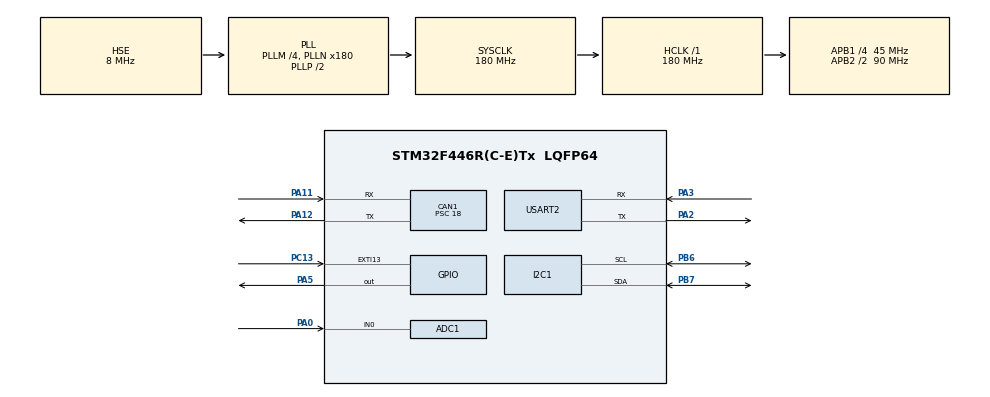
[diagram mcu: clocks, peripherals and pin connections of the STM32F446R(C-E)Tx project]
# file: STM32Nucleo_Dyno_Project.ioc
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ADC1.Channel-2\#ChannelRegularConversion=ADC_CHANNEL_0
ADC1.NbrOfConversionFlag=1
ADC1.Rank-2\#ChannelRegularConversion=1
ADC1.SamplingTime-2\#ChannelRegularConversion=ADC_SAMPLETIME_84CYCLES
ADC1.master=1
CAN1.BS1=CAN_BS1_2TQ
CAN1.BS2=CAN_BS2_2TQ
CAN1.CalculateBaudRate=500000
CAN1.CalculateTimeBit=2000
CAN1.CalculateTimeQuantum=400.0
CAN1.Prescaler=18
I2C1.I2C_Mode=I2C_Fast
Mcu.Family=STM32F4
Mcu.Name=STM32F446R(C-E)Tx
Mcu.Package=LQFP64
NVIC.CAN1_RX0_IRQn=true\:0\:0\:false\:false\:true\:true\:true\:true
NVIC.CAN1_TX_IRQn=true\:0\:0\:false\:false\:true\:true\:true\:true
NVIC.EXTI15_10_IRQn=true\:0\:0\:false\:false\:true\:true\:true\:true
NVIC.PriorityGroup=NVIC_PRIORITYGROUP_4
PA0-WKUP.Signal=ADCx_IN0
PA11.Mode=CAN_Activate
PA11.Signal=CAN1_RX
PA12.Mode=CAN_Activate
PA12.Signal=CAN1_TX
PA13.Mode=Serial_Wire
PA13.Signal=SYS_JTMS-SWDIO
PA14.Mode=Serial_Wire
PA14.Signal=SYS_JTCK-SWCLK
PA2.Mode=Asynchronous
PA2.Signal=USART2_TX
PA3.Mode=Asynchronous
PA3.Signal=USART2_RX
PA5.Signal=GPIO_Output
PB6.Mode=I2C
PB6.Signal=I2C1_SCL
PB7.Mode=I2C
PB7.Signal=I2C1_SDA
PC13.Signal=GPXTI13
PH0-OSC_IN.Mode=HSE-External-Oscillator
PH0-OSC_IN.Signal=RCC_OSC_IN
PH1-OSC_OUT.Mode=HSE-External-Oscillator
PH1-OSC_OUT.Signal=RCC_OSC_OUT
ProjectManager.HeapSize=0x200
ProjectManager.StackSize=0x400
ProjectManager.TargetToolchain=STM32CubeIDE
RCC.AHBFreq_Value=180000000
RCC.APB1CLKDivider=RCC_HCLK_DIV4
RCC.APB1Freq_Value=45000000
RCC.APB1TimFreq_Value=90000000
RCC.APB2CLKDivider=RCC_HCLK_DIV2
RCC.APB2Freq_Value=90000000
RCC.APB2TimFreq_Value=180000000
RCC.CortexFreq_Value=180000000
RCC.HCLKFreq_Value=180000000
RCC.HSE_VALUE=8000000
RCC.PLLM=4
RCC.PLLN=180
RCC.PLLSourceVirtual=RCC_PLLSOURCE_HSE
RCC.SYSCLKFreq_VALUE=180000000
RCC.SYSCLKSource=RCC_SYSCLKSOURCE_PLLCLK
RCC.USBFreq_Value=180000000
RCC.VCOOutputFreq_Value=360000000
SH.ADCx_IN0.0=ADC1_IN0,IN0
USART2.VirtualMode=VM_ASYNC
board=custom

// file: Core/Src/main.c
/* USER CODE BEGIN Header */
/**
  ******************************************************************************
  * @file           : main.c
  * @brief          : Main program body
  ******************************************************************************
  * @attention
  *
  * Copyright (c) 2026 STMicroelectronics.
  * All rights reserved.
  *
  * This software is licensed under terms that can be found in the LICENSE file
  * in the root directory of this software component.
  * If no LICENSE file comes with this software, it is provided AS-IS.
  *
  ******************************************************************************
  */
/* USER CODE END Header */
#include "main.h"

/* USER CODE BEGIN Includes */
#include <stdio.h>
#include <string.h>
/* USER CODE END Includes */

/* USER CODE BEGIN PD */
#define ENGINE_IDLE_RPM 850
#define ENGINE_REDLINE_RPM 6800
#define ENGINE_MAX_RPM 7000

#define ENGINE_COLD_TEMP 20
#define ENGINE_NORMAL_TEMP 90
#define ENGINE_HIGH_TEMP 105
#define ENGINE_MAX_TEMP 120

/* USER CODE END PD */

ADC_HandleTypeDef hadc1;

CAN_HandleTypeDef hcan1;

I2C_HandleTypeDef hi2c1;

UART_HandleTypeDef huart2;

/* USER CODE BEGIN PV */

//TODO: Place in seperate file
//DYNO States
typedef enum
{
	DYNO_IDLE = 0,
	DYNO_ACTIVE = 1,
	DYNO_STOPPED = 2

} DynoState_t;

volatile DynoState_t DYNO_STATE;

//DYNO Data states
typedef enum
{
	DYNO_DATA_AWAITING = 0,
	DYNO_DATA_RECEIVED = 1

} DynoData_t;

volatile DynoData_t DYNO_DATA = DYNO_DATA_AWAITING;

//CAN RX Engine and Dyno initialisation
volatile uint8_t Rx_Throttle;
volatile uint16_t Rx_RPM;
volatile uint8_t Rx_Temp;
volatile uint16_t Rx_Torque;
volatile uint16_t Rx_BHP;

/* USER CODE END PV */

void SystemClock_Config(void);
static void MX_GPIO_Init(void);
static void MX_ADC1_Init(void);
static void MX_CAN1_Init(void);
static void MX_I2C1_Init(void);
static void MX_USART2_UART_Init(void);
/* USER CODE BEGIN PFP */
uint8_t THROTTLE_ADC_Conversion(uint16_t ADC_VALUE);
uint16_t ENGINE_RPM_Calculation(uint8_t throttle);
uint8_t ENGINE_TEMP_Calculation(uint16_t rpm);
void CAN_SendEngineData(uint8_t throttle, uint16_t rpm, uint8_t temp);
void UART_SendDashboardData(uint8_t throttle, uint16_t rpm, uint8_t temp, uint16_t torque, uint16_t bhp);
/* USER CODE END PFP */

/* USER CODE BEGIN 0 */

//CAN Test
CAN_TxHeaderTypeDef TxHeader;
CAN_RxHeaderTypeDef RxHeader;

CAN_TxHeaderTypeDef HandshakeTxHeader;

CAN_TxHeaderTypeDef EngineTxHeader;

uint8_t HandshakeTxData[1];
uint8_t TxData[8];
uint8_t RxData[8];

uint32_t TxMailbox;

//ADC
uint16_t ADC_VAL = 0;
uint8_t count = 0;

//Engine initialisation
uint8_t Throttle_Percent;
uint16_t Engine_RPM;
uint8_t Engine_Temp = ENGINE_COLD_TEMP;

char msg[100];
/* USER CODE END 0 */

int main(void)
{

  /* MCU Configuration--------------------------------------------------------*/

  /* Reset of all peripherals, Initializes the Flash interface and the Systick. */
  HAL_Init();

  /* Configure the system clock */
  SystemClock_Config();

  /* Initialize all configured peripherals */
  MX_GPIO_Init();
  MX_ADC1_Init();
  MX_CAN1_Init();
  MX_I2C1_Init();
  MX_USART2_UART_Init();
  /* USER CODE BEGIN 2 */

  //Activate CAN and Activate CAN Interrupts
  if (HAL_CAN_Start(&hcan1) != HAL_OK){
  	  Error_Handler();
  }

  HAL_CAN_ActivateNotification(&hcan1, CAN_IT_RX_FIFO0_MSG_PENDING| CAN_IT_TX_MAILBOX_EMPTY | CAN_IT_ERROR | CAN_IT_LAST_ERROR_CODE | CAN_IT_BUSOFF);

  DYNO_STATE = DYNO_IDLE;

  //================
  //STM32 HEADER
  //================
  TxHeader.DLC = 2; //Data length
  TxHeader.IDE = CAN_ID_STD; //Standard length Identifier
  TxHeader.RTR = CAN_RTR_DATA;
  TxHeader.StdId = 0x446; //ID for the F446RE

  //================
  //CAN HANDSHAKE HEADER
  //================
  HandshakeTxHeader.DLC = 1;
  HandshakeTxHeader.IDE = CAN_ID_STD;
  HandshakeTxHeader.RTR = CAN_RTR_DATA;
  HandshakeTxHeader.StdId = 0x100;

  //================
  //ENGINE HEADER
  //================
  EngineTxHeader.StdId = 0x200;
  EngineTxHeader.IDE = CAN_ID_STD;
  EngineTxHeader.RTR = CAN_RTR_DATA;
  EngineTxHeader.DLC = 4;

  /* USER CODE END 2 */

  /* Infinite loop */
  while (1)
  {

    /* USER CODE BEGIN 3 */

	//TODO: Refactor this DYNO code
	if(DYNO_STATE == DYNO_ACTIVE)
	{
		HAL_ADC_Start(&hadc1);
		HAL_ADC_PollForConversion(&hadc1, 100);
		ADC_VAL = HAL_ADC_GetValue(&hadc1);
		HAL_ADC_Stop(&hadc1);

		//Throttle - Convert ADC Values
		Throttle_Percent = THROTTLE_ADC_Conversion(ADC_VAL);
		//RPM - Convert Throttle to RPM
		Engine_RPM = ENGINE_RPM_Calculation(Throttle_Percent);
		//Temperature - Calculate temperature
		Engine_Temp = ENGINE_TEMP_Calculation(Engine_RPM);

		CAN_SendEngineData(Throttle_Percent, Engine_RPM, Engine_Temp);

		//================================
		//TRANSMIT DATA TO SERIAL PORT
		//================================
		if (DYNO_DATA == DYNO_DATA_RECEIVED){

			uint8_t throttle;
			uint16_t rpm;
			uint8_t temp;
		    uint16_t torque;
		    uint16_t bhp;

		    uint32_t primask = __get_PRIMASK();
		    __disable_irq();

		    throttle = Rx_Throttle;
		    rpm = Rx_RPM;
		    temp = Rx_Temp;
		    torque = Rx_Torque;
		    bhp = Rx_BHP;

			DYNO_DATA = DYNO_DATA_AWAITING;

			__set_PRIMASK(primask);

			UART_SendDashboardData(throttle, rpm, temp, torque, bhp);
		}

		//UART Print values
		//sprintf(msg, "[ADC] Value = %u\r\n", ADC_VAL);
		//HAL_UART_Transmit(&huart2,(uint8_t *)msg,strlen(msg),HAL_MAX_DELAY);

		//CAN - Transmit and split ADC values
		//
		//
		//Note: Shift first number by 8 bits (as its 16-bit) then mask to get value.
		TxData[0] = (ADC_VAL >> 8) & 0xFF;
		TxData[1] = ADC_VAL & 0xFF;

		HAL_CAN_AddTxMessage(&hcan1, &TxHeader, TxData, &TxMailbox);

		HAL_Delay(500);
		count++;
	}

  }
  /* USER CODE END 3 */
}

void SystemClock_Config(void)
{
  RCC_OscInitTypeDef RCC_OscInitStruct = {0};
  RCC_ClkInitTypeDef RCC_ClkInitStruct = {0};

  /** Configure the main internal regulator output voltage
  */
  __HAL_RCC_PWR_CLK_ENABLE();
  __HAL_PWR_VOLTAGESCALING_CONFIG(PWR_REGULATOR_VOLTAGE_SCALE1);

  /** Initializes the RCC Oscillators according to the specified parameters
  * in the RCC_OscInitTypeDef structure.
  */
  RCC_OscInitStruct.OscillatorType = RCC_OSCILLATORTYPE_HSE;
  RCC_OscInitStruct.HSEState = RCC_HSE_ON;
  RCC_OscInitStruct.PLL.PLLState = RCC_PLL_ON;
  RCC_OscInitStruct.PLL.PLLSource = RCC_PLLSOURCE_HSE;
  RCC_OscInitStruct.PLL.PLLM = 4;
  RCC_OscInitStruct.PLL.PLLN = 180;
  RCC_OscInitStruct.PLL.PLLP = RCC_PLLP_DIV2;
  RCC_OscInitStruct.PLL.PLLQ = 2;
  RCC_OscInitStruct.PLL.PLLR = 2;
  if (HAL_RCC_OscConfig(&RCC_OscInitStruct) != HAL_OK)
  {
    Error_Handler();
  }

  /** Activate the Over-Drive mode
  */
  if (HAL_PWREx_EnableOverDrive() != HAL_OK)
  {
    Error_Handler();
  }

  /** Initializes the CPU, AHB and APB buses clocks
  */
  RCC_ClkInitStruct.ClockType = RCC_CLOCKTYPE_HCLK|RCC_CLOCKTYPE_SYSCLK
                              |RCC_CLOCKTYPE_PCLK1|RCC_CLOCKTYPE_PCLK2;
  RCC_ClkInitStruct.SYSCLKSource = RCC_SYSCLKSOURCE_PLLCLK;
  RCC_ClkInitStruct.AHBCLKDivider = RCC_SYSCLK_DIV1;
  RCC_ClkInitStruct.APB1CLKDivider = RCC_HCLK_DIV4;
  RCC_ClkInitStruct.APB2CLKDivider = RCC_HCLK_DIV2;

  if (HAL_RCC_ClockConfig(&RCC_ClkInitStruct, FLASH_LATENCY_5) != HAL_OK)
  {
    Error_Handler();
  }
}

static void MX_ADC1_Init(void)
{

  ADC_ChannelConfTypeDef sConfig = {0};

  /** Configure the global features of the ADC (Clock, Resolution, Data Alignment and number of conversion)
  */
  hadc1.Instance = ADC1;
  hadc1.Init.ClockPrescaler = ADC_CLOCK_SYNC_PCLK_DIV4;
  hadc1.Init.Resolution = ADC_RESOLUTION_12B;
  hadc1.Init.ScanConvMode = DISABLE;
  hadc1.Init.ContinuousConvMode = DISABLE;
  hadc1.Init.DiscontinuousConvMode = DISABLE;
  hadc1.Init.ExternalTrigConvEdge = ADC_EXTERNALTRIGCONVEDGE_NONE;
  hadc1.Init.ExternalTrigConv = ADC_SOFTWARE_START;
  hadc1.Init.DataAlign = ADC_DATAALIGN_RIGHT;
  hadc1.Init.NbrOfConversion = 1;
  hadc1.Init.DMAContinuousRequests = DISABLE;
  hadc1.Init.EOCSelection = ADC_EOC_SINGLE_CONV;
  if (HAL_ADC_Init(&hadc1) != HAL_OK)
  {
    Error_Handler();
  }

  /** Configure for the selected ADC regular channel its corresponding rank in the sequencer and its sample time.
  */
  sConfig.Channel = ADC_CHANNEL_0;
  sConfig.Rank = 1;
  sConfig.SamplingTime = ADC_SAMPLETIME_84CYCLES;
  if (HAL_ADC_ConfigChannel(&hadc1, &sConfig) != HAL_OK)
  {
    Error_Handler();
  }

}

static void MX_CAN1_Init(void)
{

  hcan1.Instance = CAN1;
  hcan1.Init.Prescaler = 18;
  hcan1.Init.Mode = CAN_MODE_NORMAL;
  hcan1.Init.SyncJumpWidth = CAN_SJW_1TQ;
  hcan1.Init.TimeSeg1 = CAN_BS1_2TQ;
  hcan1.Init.TimeSeg2 = CAN_BS2_2TQ;
  hcan1.Init.TimeTriggeredMode = DISABLE;
  hcan1.Init.AutoBusOff = DISABLE;
  hcan1.Init.AutoWakeUp = DISABLE;
  hcan1.Init.AutoRetransmission = DISABLE;
  hcan1.Init.ReceiveFifoLocked = DISABLE;
  hcan1.Init.TransmitFifoPriority = DISABLE;
  if (HAL_CAN_Init(&hcan1) != HAL_OK)
  {
    Error_Handler();
  }
  /* USER CODE BEGIN CAN1_Init 2 */

  //CAN Filter Config (Rx)
  CAN_FilterTypeDef canfilterconfig;

  //********************
  //FILTER 1 - Handshake 0x100

  canfilterconfig.FilterActivation = CAN_FILTER_ENABLE; //Activate Filter
  canfilterconfig.FilterBank = 10;  // anything between 0 to SlaveStartFilterBank
  canfilterconfig.FilterFIFOAssignment = CAN_RX_FIFO0; //Any CAN frame msg that passes filter is placed in this buffer
  canfilterconfig.FilterIdHigh = 0x100<<5; //Filter only the Uno Q ID (101)
  canfilterconfig.FilterIdLow = 0x0000;
  canfilterconfig.FilterMaskIdHigh = 0x7FF<<5; //11 Bits
  canfilterconfig.FilterMaskIdLow = 0x0000;
  canfilterconfig.FilterMode = CAN_FILTERMODE_IDMASK; //Set filter to check ID+Mask
  canfilterconfig.FilterScale = CAN_FILTERSCALE_32BIT;
  canfilterconfig.SlaveStartFilterBank = 20;  // 13 to 27 are assigned to slave CAN (CAN 2) OR 0 to 12 are assgned to CAN1

  HAL_CAN_ConfigFilter(&hcan1, &canfilterconfig);

  //********************
  //FILTER 2 - Dyno Data 0x101

  canfilterconfig.FilterBank = 11;
  canfilterconfig.FilterIdHigh = 0x101<<5;

  HAL_CAN_ConfigFilter(&hcan1, &canfilterconfig);

  /* USER CODE END CAN1_Init 2 */

}

static void MX_I2C1_Init(void)
{

  hi2c1.Instance = I2C1;
  hi2c1.Init.ClockSpeed = 400000;
  hi2c1.Init.DutyCycle = I2C_DUTYCYCLE_2;
  hi2c1.Init.OwnAddress1 = 0;
  hi2c1.Init.AddressingMode = I2C_ADDRESSINGMODE_7BIT;
  hi2c1.Init.DualAddressMode = I2C_DUALADDRESS_DISABLE;
  hi2c1.Init.OwnAddress2 = 0;
  hi2c1.Init.GeneralCallMode = I2C_GENERALCALL_DISABLE;
  hi2c1.Init.NoStretchMode = I2C_NOSTRETCH_DISABLE;
  if (HAL_I2C_Init(&hi2c1) != HAL_OK)
  {
    Error_Handler();
  }

}

static void MX_USART2_UART_Init(void)
{

  huart2.Instance = USART2;
  huart2.Init.BaudRate = 115200;
  huart2.Init.WordLength = UART_WORDLENGTH_8B;
  huart2.Init.StopBits = UART_STOPBITS_1;
  huart2.Init.Parity = UART_PARITY_NONE;
  huart2.Init.Mode = UART_MODE_TX_RX;
  huart2.Init.HwFlowCtl = UART_HWCONTROL_NONE;
  huart2.Init.OverSampling = UART_OVERSAMPLING_16;
  if (HAL_UART_Init(&huart2) != HAL_OK)
  {
    Error_Handler();
  }

}

static void MX_GPIO_Init(void)
{
  GPIO_InitTypeDef GPIO_InitStruct = {0};

  /* GPIO Ports Clock Enable */
  __HAL_RCC_GPIOC_CLK_ENABLE();
  __HAL_RCC_GPIOH_CLK_ENABLE();
  __HAL_RCC_GPIOA_CLK_ENABLE();
  __HAL_RCC_GPIOB_CLK_ENABLE();

  /*Configure GPIO pin Output Level */
  HAL_GPIO_WritePin(GPIOA, GPIO_PIN_5, GPIO_PIN_RESET);

  /*Configure GPIO pin : PC13 */
  GPIO_InitStruct.Pin = GPIO_PIN_13;
  GPIO_InitStruct.Mode = GPIO_MODE_IT_RISING;
  GPIO_InitStruct.Pull = GPIO_NOPULL;
  HAL_GPIO_Init(GPIOC, &GPIO_InitStruct);

  /*Configure GPIO pin : PA5 */
  GPIO_InitStruct.Pin = GPIO_PIN_5;
  GPIO_InitStruct.Mode = GPIO_MODE_OUTPUT_PP;
  GPIO_InitStruct.Pull = GPIO_NOPULL;
  GPIO_InitStruct.Speed = GPIO_SPEED_FREQ_LOW;
  HAL_GPIO_Init(GPIOA, &GPIO_InitStruct);

  /* EXTI interrupt init*/
  HAL_NVIC_SetPriority(EXTI15_10_IRQn, 0, 0);
  HAL_NVIC_EnableIRQ(EXTI15_10_IRQn);

}

/* USER CODE BEGIN 4 */

//=============================================================
//THROTTLE - Convert ADC to Throttle Percentage
//TODO: Refactor this into a seperate file

uint8_t THROTTLE_ADC_Conversion(uint16_t ADC_VALUE){

	//Get the percentage value of the max ADC
	uint8_t ADC_Percentage;

	ADC_Percentage = ((uint32_t)ADC_VALUE * 100) / 4095;

	return ADC_Percentage;
}

//=============================================================
//RPM - Convert throttle to RPM
//TODO: Refactor this into a seperate file
//TODO: Make RPM increase/decrease more leisurely (Instead of sudden jumps)
uint16_t ENGINE_RPM_Calculation(uint8_t throttle){

	uint16_t RPM_Value;

	RPM_Value = ENGINE_IDLE_RPM + ((uint32_t)throttle * (ENGINE_REDLINE_RPM - ENGINE_IDLE_RPM)) / 100;

	return RPM_Value;
}

//=============================================================
//TEMPERATURE - Calculate engine temperature
//TODO: Make more accurate
uint8_t ENGINE_TEMP_Calculation(uint16_t rpm){

	if (rpm > 5000){

		if (Engine_Temp < ENGINE_HIGH_TEMP){

			Engine_Temp++;
		}
	}
	else{

		if (Engine_Temp < ENGINE_NORMAL_TEMP){

			Engine_Temp++;
		}
		else if (Engine_Temp > ENGINE_NORMAL_TEMP){

			Engine_Temp--;
		}

	}

	return Engine_Temp;

}

//=============================================================
//TRANSMIT - SEND ENGINE DATA TO ARDUINO
//TODO: Refactor
void CAN_SendEngineData(uint8_t throttle, uint16_t rpm, uint8_t temp){

	uint8_t data[4];

	data[0] = throttle;

	data[1] = (rpm >> 8) & 0xFF;
	data[2] = rpm & 0xFF;

	data[3] = temp;

	HAL_CAN_AddTxMessage(&hcan1, &EngineTxHeader, data, &TxMailbox);
}

//=============================================================
//UART TRANSMIT - SEND ENGINE + DYNO DATA TO UART/SERIAL
void UART_SendDashboardData(uint8_t throttle, uint16_t rpm, uint8_t temp, uint16_t torque, uint16_t bhp){

	char buffer[100];

	int length = snprintf(buffer, sizeof(buffer), "THR=%u,RPM=%u,TEMP=%u,TORQUE=%u,BHP=%u\r\n", throttle, rpm, temp, torque, bhp);

	if (length > 0 && length < (int)sizeof(buffer)){

		HAL_UART_Transmit(&huart2, (uint8_t *)buffer, (uint16_t)length, 100);
	}

}

//=============================================================
//EXTI - User button (Initialise Dyno Start - CAN Handshake)
//TODO: Remove UART HAL_MAX_DELAY From Interrupt
//TODO: Send a CAN message to Arduino to signal the stoppage of the Dyno
//TODO: Add basic helper functions to refactor messy UART and printing code
//
void HAL_GPIO_EXTI_Callback(uint16_t GPIO_Pin){

	if (GPIO_Pin == GPIO_PIN_13){

		//If the Dyno is Active after pressing, Stop the Dyno
		if (DYNO_STATE == DYNO_ACTIVE){

			DYNO_STATE = DYNO_STOPPED;

			return;
		}

		HAL_StatusTypeDef canStatus;

		//CAN Data
		HandshakeTxData[0] = 1;

		canStatus = HAL_CAN_AddTxMessage(&hcan1, &HandshakeTxHeader, HandshakeTxData, &TxMailbox);

		if (canStatus == HAL_OK){

			//UART - Successful CAN Tx
			sprintf(msg, "[STM32]CAN DYNO HANDSHAKE SENT: ID=0x%03lX DLC=%lu DATA=%02X Mailbox=%lu\r\n", HandshakeTxHeader.StdId, HandshakeTxHeader.DLC, HandshakeTxData[0], TxMailbox);
		}
		else{
			//UART - Error
			sprintf(msg, "[STM32][ERROR] HAL Status=%d CAN Error=0x%08lX\r\n", canStatus, HAL_CAN_GetError(&hcan1));
		}

		HAL_UART_Transmit(&huart2,(uint8_t *)msg, strlen(msg), HAL_MAX_DELAY);

	}

}

//=============================================================
//CAN RECEIVE - Callback for receiving messages
void HAL_CAN_RxFifo0MsgPendingCallback(CAN_HandleTypeDef *hcan)
{
  /* Prevent unused argument(s) compilation warning */
  UNUSED(hcan);

  /* NOTE : This function Should not be modified, when the callback is needed,
            the HAL_CAN_RxFifo0MsgPendingCallback could be implemented in the
            user file
   */

  if (HAL_CAN_GetRxMessage(&hcan1, CAN_RX_FIFO0, &RxHeader, RxData) == HAL_OK){

	  //Handshake - Dyno Start
	  if (RxHeader.StdId == 0x100){

		  DYNO_STATE = DYNO_ACTIVE;

	  }
	  //Engine and Dyno data
	  if (RxHeader.StdId == 0x101 && RxHeader.DLC == 8){

		  //Data
		  Rx_Throttle = RxData[0];
		  Rx_RPM = ((uint16_t)RxData[1] << 8) | RxData[2];
		  Rx_Temp = RxData[3];
		  Rx_Torque = ((uint16_t)RxData[4] << 8) | RxData[5];
		  Rx_BHP = ((uint16_t)RxData[6] << 8) | RxData[7];

		  //Set Dyno data state to received
		  DYNO_DATA = DYNO_DATA_RECEIVED;
	  }

  }
  else{

	  char msg[150];

	  sprintf(msg, "[STM32][ERROR] Rx Error=0x%08lX\r\n", HAL_CAN_GetError(&hcan1));

	  HAL_UART_Transmit(&huart2, (uint8_t *)msg, strlen(msg), HAL_MAX_DELAY);
  }

}

//=============================================================
//HANDLE CAN ERRORS
void HAL_CAN_ErrorCallback(CAN_HandleTypeDef *hcan)
{
  /* Prevent unused argument(s) compilation warning */
  UNUSED(hcan);

  /* NOTE : This function Should not be modified, when the callback is needed,
            the HAL_CAN_ErrorCallback could be implemented in the user file
   */
  uint32_t error = HAL_CAN_GetError(hcan);

  char msg[100];

  sprintf(msg, "[STM32][ERROR] HAL error = 0x%08lX\r\n", error);

  HAL_UART_Transmit(&huart2, (uint8_t *)msg, strlen(msg),HAL_MAX_DELAY);

}

//CAN MAILBOXES - CHECKING FOR MESSAGES SENT FROM STM32
void HAL_CAN_TxMailbox0CompleteCallback(CAN_HandleTypeDef *hcan)
{
  /* Prevent unused argument(s) compilation warning */
  UNUSED(hcan);

  /* NOTE : This function Should not be modified, when the callback is needed,
            the HAL_CAN_TxMailbox0CompleteCallback could be implemented in the
            user file
   */

  	  char msg[] = "[STM32][CAN TX COMPLETE] Mailbox 0\r\n";

      HAL_UART_Transmit(&huart2, (uint8_t *)msg, strlen(msg), HAL_MAX_DELAY);
}

void HAL_CAN_TxMailbox1CompleteCallback(CAN_HandleTypeDef *hcan)
{
  /* Prevent unused argument(s) compilation warning */
  UNUSED(hcan);

  /* NOTE : This function Should not be modified, when the callback is needed,
            the HAL_CAN_TxMailbox0CompleteCallback could be implemented in the
            user file
   */

  	 char msg[] = "[STM32][CAN TX COMPLETE] Mailbox 1\r\n";

     HAL_UART_Transmit(&huart2, (uint8_t *)msg, strlen(msg), HAL_MAX_DELAY);
}

/* USER CODE END 4 */

void Error_Handler(void)
{
  __disable_irq();
  while (1)
  {
  }
}
